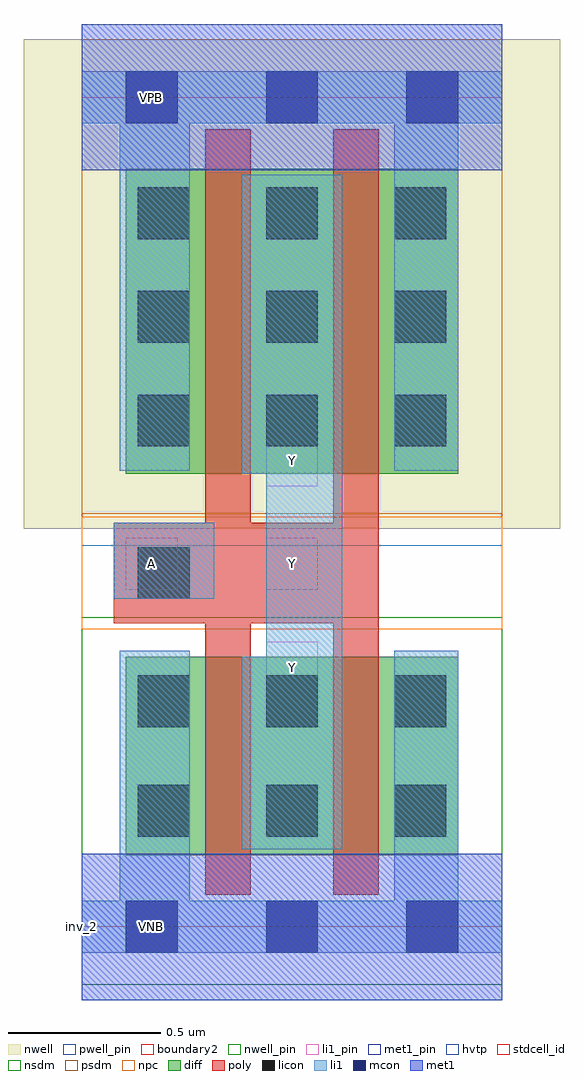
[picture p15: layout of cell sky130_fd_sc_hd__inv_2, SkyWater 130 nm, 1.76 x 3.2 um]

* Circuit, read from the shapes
.subckt sky130_fd_sc_hd__inv_2 A VGND VNB VPB VPWR Y
XM1 Y A VGND VNB sky130_fd_pr__nfet_01v8 w=0.65 l=0.15 m=2
XM2 Y A VPWR VPB sky130_fd_pr__pfet_01v8_hvt w=1 l=0.15 m=2
.ends

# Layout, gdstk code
import gdstk
lib = gdstk.Library(unit=1e-6, precision=1e-09)
def R(c, l, rs):  # rectangles x0, y0, x1, y1
    for r in rs: c.add(gdstk.rectangle(r[:2], r[2:], *l))
def A(c, l, x, y, w, h, nx, ny, dx, dy):  # array of equal rectangles
    R(c, l, [(x+i*dx, y+j*dy, x+i*dx+w, y+j*dy+h) for i in range(nx) for j in range(ny)])
def P(c, l, *ps):  # polygons
    for p in ps: c.add(gdstk.Polygon(p, *l))
nwell_pin = (64, 16)
nwell = (64, 20)
diff = (65, 20)
poly = (66, 20)
licon = (66, 44)
li1_pin = (67, 16)
li1 = (67, 20)
mcon = (67, 44)
met1_pin = (68, 16)
met1 = (68, 20)
hvtp = (78, 44)
stdcell_id = (81, 4)
nsdm = (93, 44)
psdm = (94, 20)
npc = (95, 20)
pwell_pin = (122, 16)
boundary2 = (236, 0)

sky130_fd_sc_hd__inv_2 = lib.new_cell('sky130_fd_sc_hd__inv_2')
R(sky130_fd_sc_hd__inv_2, nwell_pin, [(0.145,2.635,0.315,2.805)])
R(sky130_fd_sc_hd__inv_2, nwell, [(-0.19,1.305,1.57,2.91)])
R(sky130_fd_sc_hd__inv_2, diff, [(0.145,0.235,1.235,0.885), (0.145,1.485,1.235,2.485)])
P(sky130_fd_sc_hd__inv_2, poly, [(0.975,2.615),(0.825,2.615),(0.825,1.325),(0.555,1.325),(0.555,2.615),(0.405,2.615),(0.405,1.325),(0.105,1.325),(0.105,0.995),(0.405,0.995),(0.405,0.105),(0.555,0.105),(0.555,0.995),(0.825,0.995),(0.825,0.105),(0.975,0.105)])
A(sky130_fd_sc_hd__inv_2, licon, 0.185, 0.295, 0.17, 0.17, 3, 2, 0.42, 0.36)
A(sky130_fd_sc_hd__inv_2, licon, 0.185, 1.575, 0.17, 0.17, 3, 3, 0.42, 0.34)
R(sky130_fd_sc_hd__inv_2, licon, [(0.185,1.075,0.355,1.245)])
A(sky130_fd_sc_hd__inv_2, li1_pin, 0.605, 0.765, 0.17, 0.17, 1, 3, 0, 0.34)
R(sky130_fd_sc_hd__inv_2, li1_pin, [(0.145,1.105,0.315,1.275)])
R(sky130_fd_sc_hd__inv_2, li1, [(0.105,1.075,0.435,1.325)])
P(sky130_fd_sc_hd__inv_2, li1, [(1.38,2.805),(0,2.805),(0,2.635),(0.125,2.635),(0.125,1.495),(0.355,1.495),(0.355,2.635),(1.025,2.635),(1.025,1.495),(1.235,1.495),(1.235,2.635),(1.38,2.635)],
  [(0.855,2.465),(0.525,2.465),(0.525,1.485),(0.605,1.485),(0.605,0.885),(0.525,0.885),(0.525,0.255),(0.855,0.255)],
  [(1.38,0.085),(1.235,0.085),(1.235,0.905),(1.025,0.905),(1.025,0.085),(0.355,0.085),(0.355,0.905),(0.125,0.905),(0.125,0.085),(0,0.085),(0,-0.085),(1.38,-0.085)])
A(sky130_fd_sc_hd__inv_2, mcon, 0.145, -0.085, 0.17, 0.17, 3, 2, 0.46, 2.72)
R(sky130_fd_sc_hd__inv_2, met1_pin, [(0.145,-0.085,0.315,0.085), (0.145,2.635,0.315,2.805)])
R(sky130_fd_sc_hd__inv_2, hvtp, [(0,1.25,1.38,2.72)])
R(sky130_fd_sc_hd__inv_2, stdcell_id, [(0,0,1.38,2.72)])
R(sky130_fd_sc_hd__inv_2, nsdm, [(0,-0.19,1.38,1.015)])
R(sky130_fd_sc_hd__inv_2, psdm, [(0,1.355,1.38,2.91)])
R(sky130_fd_sc_hd__inv_2, npc, [(0,0.975,1.38,1.345)])
R(sky130_fd_sc_hd__inv_2, pwell_pin, [(0.145,-0.085,0.315,0.085)])
R(sky130_fd_sc_hd__inv_2, boundary2, [(0,0,1.38,2.72)])
sky130_fd_sc_hd__inv_2.add(gdstk.FlexPath([(0,2.72),(1.38,2.72)], 0.48, ends="flush", simple_path=True, layer=68, datatype=20))  # met1
sky130_fd_sc_hd__inv_2.add(gdstk.FlexPath([(0,0),(1.38,0)], 0.48, ends="flush", simple_path=True, layer=68, datatype=20))  # met1
sky130_fd_sc_hd__inv_2.add(gdstk.Label('A', (0.23,1.19), layer=67, texttype=5))
sky130_fd_sc_hd__inv_2.add(gdstk.Label('Y', (0.69,0.85), layer=67, texttype=5))
sky130_fd_sc_hd__inv_2.add(gdstk.Label('Y', (0.69,1.53), layer=67, texttype=5))
sky130_fd_sc_hd__inv_2.add(gdstk.Label('Y', (0.69,1.19), layer=67, texttype=5))
sky130_fd_sc_hd__inv_2.add(gdstk.Label('VPB', (0.23,2.72), layer=64, texttype=5))
sky130_fd_sc_hd__inv_2.add(gdstk.Label('VNB', (0.23,0), layer=64, texttype=59))
sky130_fd_sc_hd__inv_2.add(gdstk.Label('VPWR', (0.23,2.72), layer=68, texttype=5))
sky130_fd_sc_hd__inv_2.add(gdstk.Label('VGND', (0.23,0), layer=68, texttype=5))
sky130_fd_sc_hd__inv_2.add(gdstk.Label('inv_2', (0,0), layer=83, texttype=44))

lib.write_gds('sky130_fd_sc_hd__inv_2.gds')
